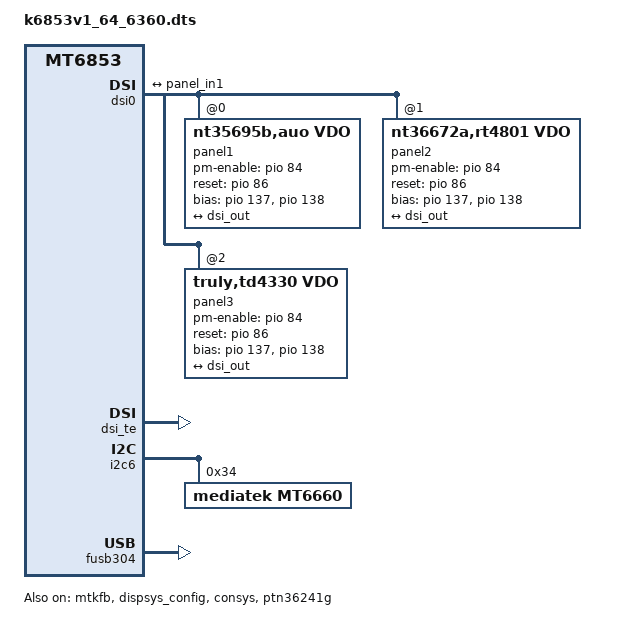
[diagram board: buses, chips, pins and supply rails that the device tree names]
// SPDX-License-Identifier: (GPL-2.0 OR MIT)
/*
 * Copyright (C) 2020 MediaTek Inc.
 * Author: Chun-Hung Wu <chun-hung.wu@mediatek.com>
 */
/dts-v1/;
/plugin/;
#include <dt-bindings/interrupt-controller/arm-gic.h>
#include <dt-bindings/interrupt-controller/irq.h>
#include <dt-bindings/pinctrl/mt6853-pinfunc.h>
#include <dt-bindings/regulator/mediatek,mt6360-regulator.h>
#include <dt-bindings/power/mtk-charger.h>
#include <dt-bindings/phy/phy.h>
#include "mediatek/mt6360_mt6853.dtsi"


&chosen {
	atag,videolfb-fb_base_l = <0x7e605000>;
	atag,videolfb-fb_base_h = <0x0>;
	atag,videolfb-islcmfound = <1>;
	atag,videolfb-islcm_inited = <0>;
	atag,videolfb-fps= <6000>;
	atag,videolfb-vramSize= <0x1be0000>;
	atag,videolfb-lcmname=
		"td4330_fhdp_dsi_vdo_auo_rt5081_drv";
};

&pio {
	mtkfb_pins_lcd_bias_enp1: lcd_bias_enp1_gpio {
		pins_cmd_dat {
			pinmux = <PINMUX_GPIO137__FUNC_GPIO137>;
			slew-rate = <1>;
			output-high;
		};
	};

	mtkfb_pins_lcd_bias_enp0: lcd_bias_enp0_gpio {
		pins_cmd_dat {
			pinmux = <PINMUX_GPIO137__FUNC_GPIO137>;
			slew-rate = <1>;
			output-low;
		};
	};

	mtkfb_pins_lcd_bias_enn1: lcd_bias_enn1_gpio {
		pins_cmd_dat {
			pinmux = <PINMUX_GPIO138__FUNC_GPIO138>;
			slew-rate = <1>;
			output-high;
		};
	};

	mtkfb_pins_lcd_bias_enn0: lcd_bias_enn0_gpio {
		pins_cmd_dat {
			pinmux = <PINMUX_GPIO138__FUNC_GPIO138>;
			slew-rate = <1>;
			output-low;
		};
	};

	mtkfb_pins_lcm_rst_out1_gpio: lcm_rst_out1_gpio {
		pins_cmd_dat {
			pinmux = <PINMUX_GPIO86__FUNC_GPIO86>;
			slew-rate = <1>;
			output-high;
		};
	};

	mtkfb_pins_lcm_rst_out0_gpio: lcm_rst_out0_gpio {
		pins_cmd_dat {
			pinmux = <PINMUX_GPIO86__FUNC_GPIO86>;
			slew-rate = <1>;
			output-low;
		};
	};
	mtkfb_pins_lcm_dsi_te: lcm_dsi_te {
		pins_cmd_dat {
			pinmux = <PINMUX_GPIO84__FUNC_DSI_TE>;
		};
	};
};

&mtkfb {
	pinctrl-names = "lcd_bias_enp1_gpio", "lcd_bias_enp0_gpio",
			"lcd_bias_enn1_gpio", "lcd_bias_enn0_gpio",
			"lcm_rst_out1_gpio", "lcm_rst_out0_gpio",
			"mode_te_te";
	pinctrl-0 = <&mtkfb_pins_lcd_bias_enp1>;
	pinctrl-1 = <&mtkfb_pins_lcd_bias_enp0>;
	pinctrl-2 = <&mtkfb_pins_lcd_bias_enn1>;
	pinctrl-3 = <&mtkfb_pins_lcd_bias_enn0>;
	pinctrl-4 = <&mtkfb_pins_lcm_rst_out1_gpio>;
	pinctrl-5 = <&mtkfb_pins_lcm_rst_out0_gpio>;
	pinctrl-6 = <&mtkfb_pins_lcm_dsi_te>;
	status = "okay";
};

&dispsys_config {
	pinctrl-names =
			"lcm_rst_out1_gpio", "lcm_rst_out0_gpio",
			"mode_te_te";
	pinctrl-0 = <&mtkfb_pins_lcm_rst_out1_gpio>;
	pinctrl-1 = <&mtkfb_pins_lcm_rst_out0_gpio>;
	pinctrl-2 = <&mtkfb_pins_lcm_dsi_te>;
	status = "okay";
};

&dsi0 {
	status = "okay";
	#address-cells = <1>;
	#size-cells = <0>;
	panel1@0 {
		compatible = "nt35695b,auo,vdo";
		reg = <0>;
		pm-enable-gpios = <&pio 84 0>;
		reset-gpios = <&pio 86 0>;
		bias-gpios = <&pio 137 0>,
			<&pio 138 0>;
		pinctrl-names = "default";
		port {
			panel_in1: endpoint {
				remote-endpoint = <&dsi_out>;
			};
		};
	};
	panel2@0 {
		compatible = "nt36672a,rt4801,vdo";
		reg = <1>;
		pm-enable-gpios = <&pio 84 0>;
		reset-gpios = <&pio 86 0>;
		bias-gpios = <&pio 137 0>,
			<&pio 138 0>;
		pinctrl-names = "default";
		port {
			panel_in2: endpoint {
				remote-endpoint = <&dsi_out>;
			};
		};
	};
	panel3@0 {
		compatible = "truly,td4330,vdo";
		reg = <2>;
		pm-enable-gpios = <&pio 84 0>;
		reset-gpios = <&pio 86 0>;
		bias-gpios = <&pio 137 0>,
			<&pio 138 0>;
		pinctrl-names = "default";
		port {
			panel_in3: endpoint {
				remote-endpoint = <&dsi_out>;
			};
		};
	};
	ports {
		port {
			dsi_out: endpoint {
				remote-endpoint = <&panel_in1>;
			};
		};
	};
};

&dsi_te {
	interrupt-parent = <&pio>;
	interrupts = <84 1 84 1>;
	status = "okay";
};

&i2c6 {
	mt6660: mt6660@34 {
		compatible = "mediatek,mt6660";
		#sound-dai-cells = <0>;
		reg = <0x34>;
		status = "okay";
	};
};

&sound {
	mediatek,speaker-codec {
		sound-dai = <&mt6660>;
	};
};
#include "mediatek/cust_mt6853_camera.dtsi"
/* CONSYS GPIO standardization */
&pio {
	consys_pins_default: consys_default {
	};
	gpslna_pins_init: gpslna@0 {
		pins_cmd_dat {
			pinmux = <PINMUX_GPIO87__FUNC_GPIO87>;
			output-low;
		};
	};
	gpslna_pins_oh: gpslna@1 {
		pins_cmd_dat {
			pinmux = <PINMUX_GPIO87__FUNC_GPS_L1_ELNA_EN>;
		};
	};
	gpslna_pins_ol: gpslna@2 {
		pins_cmd_dat {
			pinmux = <PINMUX_GPIO87__FUNC_GPIO87>;
			output-low;
		};
	};
};

&consys {
	pinctrl-names = "default", "gps_lna_state_init",
		"gps_lna_state_oh", "gps_lna_state_ol";
	pinctrl-0 = <&consys_pins_default>;
	pinctrl-1 = <&gpslna_pins_init>;
	pinctrl-2 = <&gpslna_pins_oh>;
	pinctrl-3 = <&gpslna_pins_ol>;
	status = "okay";
};
/* CONSYS end */

&pdc {
	pd_vbus_upper_bound = <12000000>;
};
/* usb typec mux */
&pio {
	c1_active: c1_high {
		pins_cmd_dat {
			pinmux = <PINMUX_GPIO41__FUNC_GPIO41>;
			output-high;
		};
	};

	c2_active: c2_highz {
		pins_cmd_dat {
			pinmux = <PINMUX_GPIO40__FUNC_GPIO40>;
			input-enable;
			bias-disable;
		};
	};

	c1_sleep: c1_low {
		pins_cmd_dat {
			pinmux = <PINMUX_GPIO41__FUNC_GPIO41>;
			output-low;
		};
	};

	c2_sleep: c2_low {
		pins_cmd_dat {
			pinmux = <PINMUX_GPIO40__FUNC_GPIO40>;
			output-low;
		};
	};

	sel_up: sel_high {
		pins_cmd_dat {
			pinmux = <PINMUX_GPIO11__FUNC_GPIO11>;
			output-high;
		};
	};

	sel_down: sel_low {
		pins_cmd_dat {
			pinmux = <PINMUX_GPIO11__FUNC_GPIO11>;
			output-low;
		};
	};

	sw_enable: sw_enable {
		pins_cmd_dat {
			pinmux = <PINMUX_GPIO132__FUNC_GPIO132>;
			output-low;
		};
	};

	sw_disable: sw_disable {
		pins_cmd_dat {
			pinmux = <PINMUX_GPIO132__FUNC_GPIO132>;
			output-low;
		};
	};
};

&ptn36241g {
	pinctrl-names = "c1_active", "c1_sleep",
		"c2_active", "c2_sleep";
	pinctrl-0 = <&c1_active>;
	pinctrl-1 = <&c1_sleep>;
	pinctrl-2 = <&c2_active>;
	pinctrl-3 = <&c2_sleep>;
	status = "okay";
};

&fusb304 {
	pinctrl-names = "sel_up", "sel_down",
		"enable", "disable";
	pinctrl-0 = <&sel_up>;
	pinctrl-1 = <&sel_down>;
	pinctrl-2 = <&sw_enable>;
	pinctrl-3 = <&sw_disable>;
	status = "okay";
};

#include "mediatek/cust_mt6853_touch_1080x1920.dtsi"
#include <k6853v1_64_6360/cust.dtsi>
/*End of this file, DO NOT ADD ANYTHING HERE*/
